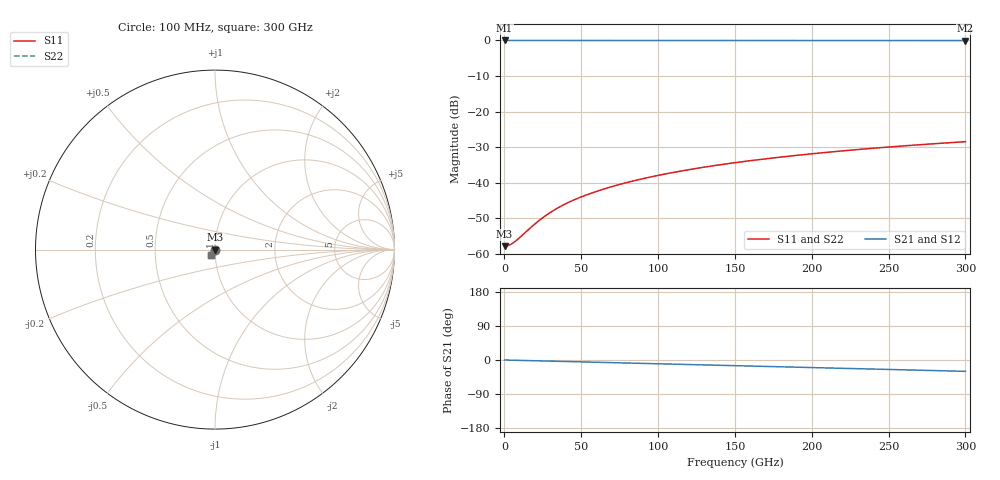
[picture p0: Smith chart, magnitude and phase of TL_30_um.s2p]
#  Hz  S  RI  R  50
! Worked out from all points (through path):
!   3000 points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, 100 MHz to 300 GHz, reference 50 ohm
!   highest |S21| = -0.01 dB at 100 MHz (marker M1); lowest = 0.0 dB at 300 GHz (marker M2)
!   group delay of S21, straight-line fit = 277 fs
!   lowest |S11| = -57.9 dB at 100 MHz (marker M3), VSWR 1.00, Z = 50.1 - j0.000976 ohm
!   |S11| at or under -10 dB: start of sweep to end of sweep
!   |S22| runs from -57.9 to -28.5 dB; largest |S21 - S12| = 7.9e-05
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1e8  0.00127 -9.74e-06  0.9987 -0.000178  0.9987 -0.000178  0.00128 -9.79e-06
3.1e9  0.00128 -0.000303  0.9987 -0.00551  0.9987 -0.00551  0.00129 -0.000305
6.4e9  0.00131 -0.000632  0.9986 -0.0114  0.9986 -0.0114  0.00131 -0.000636
9.3e9  0.00135 -0.000933  0.9985 -0.0165  0.9985 -0.0165  0.00135 -0.000937
1.68e10  0.00146 -0.00178  0.998 -0.0297  0.998 -0.0296  0.00146 -0.00178
2.1e10  0.00152 -0.00229  0.9976 -0.0369  0.9976 -0.0369  0.00152 -0.00229
2.56e10  0.00157 -0.00289  0.9972 -0.0449  0.9972 -0.0449  0.00156 -0.00289
3.02e10  0.00158 -0.0035  0.9967 -0.0528  0.9967 -0.0528  0.00158 -0.0035
3.47e10  0.00156 -0.00411  0.9963 -0.0606  0.9963 -0.0606  0.00156 -0.00411
3.95e10  0.00151 -0.00476  0.9957 -0.0689  0.9957 -0.0689  0.00151 -0.00476
4.46e10  0.00143 -0.00544  0.995 -0.0777  0.995 -0.0777  0.00143 -0.00544
5.01e10  0.00132 -0.00617  0.9942 -0.0872  0.9942 -0.0872  0.00132 -0.00617
6.06e10  0.00107 -0.00753  0.9923 -0.1053  0.9923 -0.1053  0.00107 -0.00753
7.28e10  0.000717 -0.00911  0.9897 -0.1262  0.9897 -0.1262  0.000716 -0.00911
8.6e10  0.000231 -0.0108  0.9864 -0.1488  0.9864 -0.1488  0.000231 -0.0108
1.001e11  -0.00042 -0.0126  0.9824 -0.1729  0.9824 -0.1729  -0.000419 -0.0126
1.234e11  -0.00174 -0.0155  0.9743 -0.2125  0.9743 -0.2125  -0.00174 -0.0155
1.501e11  -0.00363 -0.0187  0.9632 -0.2573  0.9632 -0.2573  -0.00363 -0.0187
1.737e11  -0.00562 -0.0213  0.9516 -0.2965  0.9516 -0.2965  -0.00562 -0.0213
2.001e11  -0.00816 -0.0241  0.9367 -0.3398  0.9367 -0.3398  -0.00816 -0.0241
2.501e11  -0.0138 -0.0285  0.9031 -0.4197  0.9031 -0.4197  -0.0138 -0.0285
3e11  -0.0203 -0.0317  0.8624 -0.4963  0.8625 -0.4962  -0.0203 -0.0317
